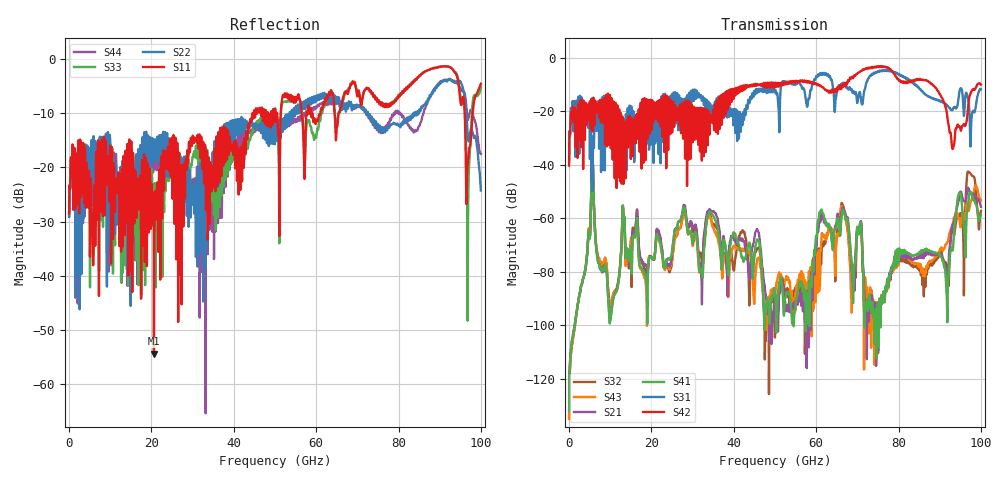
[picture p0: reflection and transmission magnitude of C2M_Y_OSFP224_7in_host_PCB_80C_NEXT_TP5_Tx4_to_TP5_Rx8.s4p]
# GHz S RI R 45
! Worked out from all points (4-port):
!   4000 points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, 25 MHz to 100 GHz, reference 45 ohm
!   strongest paths, dB at 25 MHz, 25.02 GHz, 50.02 GHz, 75.03 GHz, 100 GHz:
!     S42: -40.3, -26.4, -10.6, -3.4, -9.9
!     S31: -38.7, -14.2, -12.1, -5.0, -11.6
!     S41: -132.1, -72.2, -88.4, -92.6, -58.9
!     S21: -131.9, -72.9, -88.8, -108.3, -55.6
!     S43: -135.1, -75.4, -88.7, -93.1, -53.4
!     S32: -134.7, -75.7, -104.0, -110.5, -57.3
!   lowest |S11| = -54.4 dB at 20.62 GHz (marker M1), VSWR 1.00, Z = 45 - j0.169 ohm
!   |S11| at or under -10 dB: start of sweep to 44.52 GHz; 59.09 GHz to 61.04 GHz (1.955 GHz wide, 3.26 % of centre); 96.08 GHz to 98 GHz (1.927 GHz wide, 1.99 % of centre) (the widest 3 of 20)
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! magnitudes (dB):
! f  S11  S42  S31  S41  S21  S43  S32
! 25 MHz  -28.5  -40.3  -38.7  -132.1  -131.9  -135.1  -134.7
! 5.725 GHz  -32.4  -27.4  -39.6  -40.9  -40.9  -40.9  -40.9
! 7.95 GHz  -15.5  -15.9  -15.8  -79.7  -80.1  -77.4  -77.8
! 20.62 GHz  -54.4  -16.6  -26.0  -75.2  -75.6  -75.4  -75.5
! 86.15 GHz  -2.5  -8.2  -13.1  -71.9  -74.7  -80.4  -89.2
! 93.2 GHz  -2.0  -34.0  -19.1  -71.8  -62.0  -62.1  -63.8
! 100 GHz  -4.6  -9.9  -11.6  -58.9  -55.6  -53.4  -57.3
